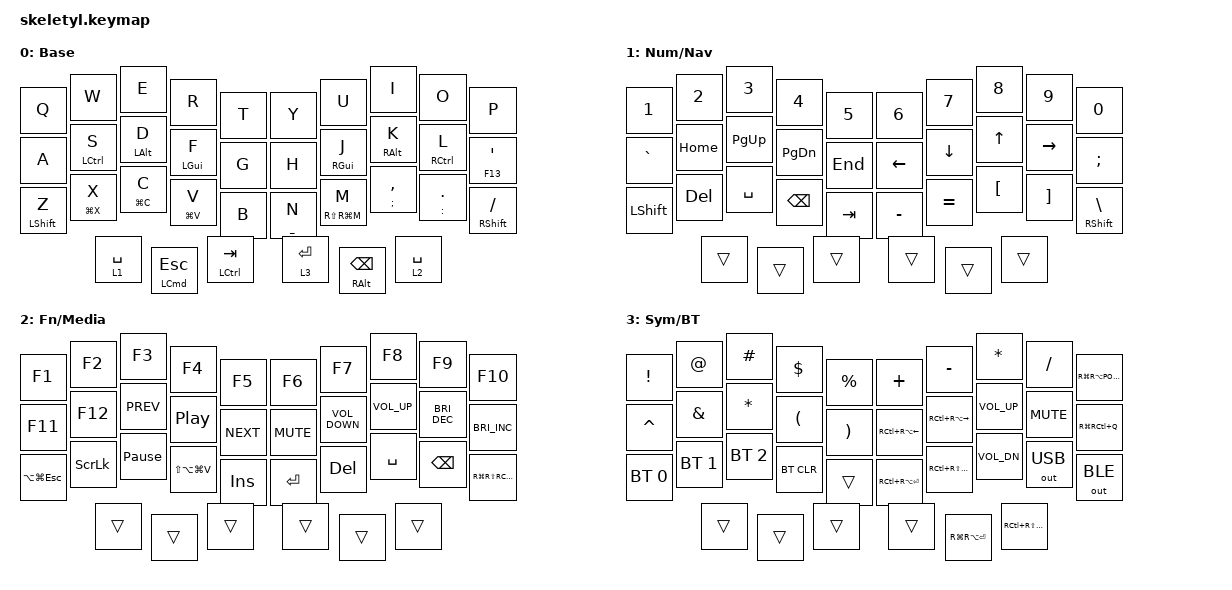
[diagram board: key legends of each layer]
#include <behaviors.dtsi>
#include <dt-bindings/zmk/bt.h>
#include <dt-bindings/zmk/keys.h>
#include <dt-bindings/zmk/outputs.h>

&mt {
    flavor = "tap-preferred";
    tapping_term_ms = <200>;
};

/ {
    combos {
        compatible = "zmk,combos";

        combo_esc {
            timeout-ms = <50>;
            key-positions = <0 1>;
            bindings = <&kp ESC>;
        };

        combo_tab {
            timeout-ms = <50>;
            key-positions = <10 11>;
            bindings = <&kp TAB>;
        };

        combo_backspace {
            timeout-ms = <50>;
            key-positions = <17 16>;
            bindings = <&kp BACKSPACE>;
        };

        combo_lgui {
            timeout-ms = <50>;
            key-positions = <11 12>;
            bindings = <&kp LEFT_GUI>;
        };

        combo_space {
            timeout-ms = <50>;
            key-positions = <12 13>;
            bindings = <&kp SPACE>;
        };

        combo_ralt {
            timeout-ms = <50>;
            key-positions = <17 18>;
            bindings = <&kp RALT>;
        };

        combo_return {
            bindings = <&kp RETURN>;
            key-positions = <18 19>;
            timeout-ms = <50>;
        };

        combo_undo {
            bindings = <&kp LG(Z)>;
            key-positions = <20 21>;
        };
    };

    keymap {
        compatible = "zmk,keymap";

        /* Layer 0: Base keys
 *
 * ,-----.-----.-----.-----.-----.                      ,-----.-----.-----.-----.-----.
 * | Q   | W   | E   | R   | T   |                      | Y   | U   | I   | O   | P   |
 * |-----+-----+-----+-----+-----|                      |-----+-----+-----+-----+-----|
 * | A   | S   | D   | F   | G   |                      | H   | J   | K   | L   | ' " | 
 * |-----+-----+-----+-----+-----+                      |-----+-----+-----+-----+-----|
 * |SHF/Z| X   | C   | V   | B   |                      | N   | M   | < , | > . |SHF/?|
 * `-----'-----'-----'-----'-----'                      `-----'-----'-----'-----'-----'
 *               .-------.-------.-------.      .-------.-------.-------.   
 *               |  L1   |CMD/ESC|  SPC  |      |  BSP  |OPT/RET|  L2   |
 *               '-------'-------'-------'      '-------'-------'-------' 
 */

        default_layer {
            display-name = "Base";
            bindings = <
&kp Q        &kp W               &kp E           &kp R           &kp T                   &kp Y        &kp U               &kp I            &kp O                &kp P
&kp A        &mt LEFT_CONTROL S  &mt LEFT_ALT D  &mt LEFT_GUI F  &kp G                   &kp H        &mt RIGHT_GUI J     &mt RIGHT_ALT K  &mt RIGHT_CONTROL L  &mt F13 SINGLE_QUOTE
&mt LSHFT Z  &mt LG(X) X         &mt LG(C) C     &mt LG(V) V     &kp B                   &mt UNDER N  &mt RS(RG(M)) M     &mt SEMI COMMA   &mt COLON PERIOD     &mt RSHFT FSLH
                                 &lt 1 SPACE     &mt LCMD ESC    &mt LEFT_CONTROL TAB    &lt 3 ENTER  &mt RALT BACKSPACE  &lt 2 SPACE
            >;
        };

        left_layer {
            display-name = "Num/Nav";
            bindings = <
&kp NUMBER_1    &kp NUMBER_2  &kp NUMBER_3  &kp NUMBER_4   &kp NUMBER_5    &kp NUMBER_6  &kp NUMBER_7  &kp NUMBER_8  &kp NUMBER_9  &kp NUMBER_0
&kp GRAVE       &kp HOME      &kp PAGE_UP   &kp PAGE_DOWN  &kp END         &kp LEFT      &kp DOWN      &kp UP        &kp RIGHT     &kp SEMI
&kp LEFT_SHIFT  &kp DELETE    &kp SPACE     &kp BACKSPACE  &kp TAB         &kp MINUS     &kp EQUAL     &kp LBKT      &kp RBKT      &mt RSHFT BACKSLASH
                              &trans        &trans         &trans          &trans        &trans        &trans
            >;
        };

        right_layer {
            display-name = "Fn/Media";
            bindings = <
&kp F1              &kp F2          &kp F3           &kp F4             &kp F5        &kp F6      &kp F7             &kp F8           &kp F9                &kp F10
&kp F11             &kp F12         &kp C_PREV       &kp C_PLAY_PAUSE   &kp C_NEXT    &kp C_MUTE  &kp C_VOLUME_DOWN  &kp C_VOLUME_UP  &kp C_BRIGHTNESS_DEC  &kp C_BRIGHTNESS_INC
&kp LA(LG(ESCAPE))  &kp SCROLLLOCK  &kp PAUSE_BREAK  &kp LS(LA(LG(V)))  &kp INSERT    &kp ENTER   &kp DELETE         &kp SPACE        &kp BACKSPACE         &kp RG(RS(RC(NUMBER_4)))
                                    &trans           &trans             &trans        &trans      &trans             &trans
            >;
        };

        tri_layer {
            display-name = "Sym/BT";
            bindings = <
&kp EXCLAMATION  &kp AT         &kp HASH      &kp DOLLAR            &kp PERCENT              &kp PLUS                &kp MINUS              &kp ASTERISK              &kp SLASH     &kp RG(RA(K_POWER))
&kp CARET        &kp AMPERSAND  &kp ASTERISK  &kp LEFT_PARENTHESIS  &kp RIGHT_PARENTHESIS    &kp RC(RA(LEFT_ARROW))  &kp RC(RA(RIGHT))      &kp K_VOL_UP              &kp K_MUTE    &kp RG(RC(Q))
&bt BT_SEL 0     &bt BT_SEL 1   &bt BT_SEL 2  &bt BT_CLR            &trans                   &kp RC(RA(ENTER))       &kp RC(RS(RA(ENTER)))  &kp K_VOL_DN              &out OUT_USB  &out OUT_BLE
                                &trans        &trans                &trans                   &trans                  &kp RG(RA(ENTER))      &kp RC(RS(RA(UP_ARROW)))
            >;
        };
    };
};
